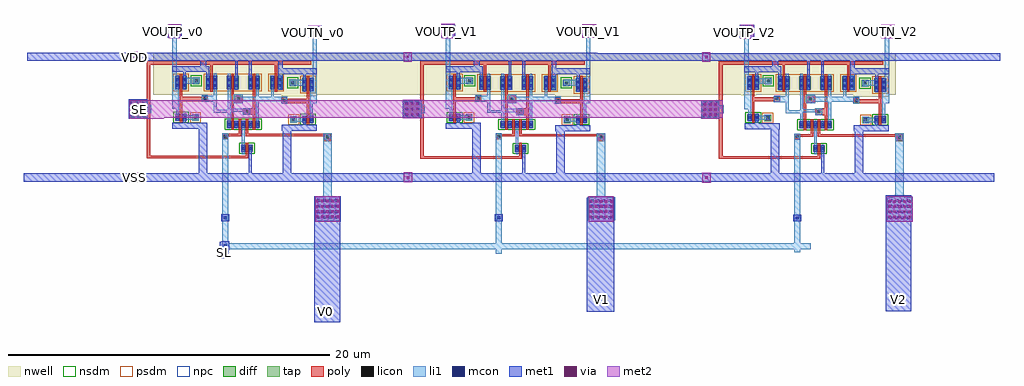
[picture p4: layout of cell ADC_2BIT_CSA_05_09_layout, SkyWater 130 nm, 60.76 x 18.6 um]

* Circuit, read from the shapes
.subckt ADC_2BIT_CSA_05_09_layout SE SL V0 V1 V2 VDD VOUTN_V1 VOUTN_V2 VOUTN_v0 VOUTP_V1 VOUTP_V2 VOUTP_v0 VSS
XM1 VSS CSA_g18_2108_layout_2/inv_D1_1v8_0/IN VOUTP_v0 VSS sky130_fd_pr__nfet_01v8 w=0.42 l=0.15
XM2 n1 CSA_g18_2108_layout_2/inv_D1_1v8_10/IN CSA_g18_2108_layout_2/inv_D1_1v8_0/IN VSS sky130_fd_pr__nfet_01v8 w=0.42 l=0.15
XM3 n2 SL n1 VSS sky130_fd_pr__nfet_01v8 w=0.42 l=0.15
XM4 VSS SE n2 VSS sky130_fd_pr__nfet_01v8 w=0.42 l=0.15
XM5 n3 V0 n2 VSS sky130_fd_pr__nfet_01v8 w=0.42 l=0.15
XM6 CSA_g18_2108_layout_2/inv_D1_1v8_10/IN CSA_g18_2108_layout_2/inv_D1_1v8_0/IN n3 VSS sky130_fd_pr__nfet_01v8 w=0.42 l=0.15
XM7 VOUTN_v0 CSA_g18_2108_layout_2/inv_D1_1v8_10/IN VSS VSS sky130_fd_pr__nfet_01v8 w=0.42 l=0.15
XM8 VSS CSA_g18_2108_layout_1/inv_D1_1v8_0/IN VOUTP_V1 VSS sky130_fd_pr__nfet_01v8 w=0.42 l=0.15
XM9 n4 CSA_g18_2108_layout_1/inv_D1_1v8_10/IN CSA_g18_2108_layout_1/inv_D1_1v8_0/IN VSS sky130_fd_pr__nfet_01v8 w=0.42 l=0.15
XM10 n5 SL n4 VSS sky130_fd_pr__nfet_01v8 w=0.42 l=0.15
XM11 VSS SE n5 VSS sky130_fd_pr__nfet_01v8 w=0.42 l=0.15
XM12 n6 V1 n5 VSS sky130_fd_pr__nfet_01v8 w=0.42 l=0.15
XM13 CSA_g18_2108_layout_1/inv_D1_1v8_10/IN CSA_g18_2108_layout_1/inv_D1_1v8_0/IN n6 VSS sky130_fd_pr__nfet_01v8 w=0.42 l=0.15
XM14 VOUTN_V1 CSA_g18_2108_layout_1/inv_D1_1v8_10/IN VSS VSS sky130_fd_pr__nfet_01v8 w=0.42 l=0.15
XM15 VSS CSA_g18_2108_layout_0/inv_D1_1v8_0/IN VOUTP_V2 VSS sky130_fd_pr__nfet_01v8 w=0.42 l=0.15
XM16 n7 CSA_g18_2108_layout_0/inv_D1_1v8_10/IN CSA_g18_2108_layout_0/inv_D1_1v8_0/IN VSS sky130_fd_pr__nfet_01v8 w=0.42 l=0.15
XM17 n8 SL n7 VSS sky130_fd_pr__nfet_01v8 w=0.42 l=0.15
XM18 VSS SE n8 VSS sky130_fd_pr__nfet_01v8 w=0.42 l=0.15
XM19 n9 V2 n8 VSS sky130_fd_pr__nfet_01v8 w=0.42 l=0.15
XM20 CSA_g18_2108_layout_0/inv_D1_1v8_10/IN CSA_g18_2108_layout_0/inv_D1_1v8_0/IN n9 VSS sky130_fd_pr__nfet_01v8 w=0.42 l=0.15
XM21 VOUTN_V2 CSA_g18_2108_layout_0/inv_D1_1v8_10/IN VSS VSS sky130_fd_pr__nfet_01v8 w=0.42 l=0.15
XM22 VDD CSA_g18_2108_layout_2/inv_D1_1v8_0/IN VOUTP_v0 VDD sky130_fd_pr__pfet_01v8 w=0.84 l=0.15
XM23 CSA_g18_2108_layout_2/inv_D1_1v8_0/IN SE VDD VDD sky130_fd_pr__pfet_01v8 w=0.84 l=0.15
XM24 VDD CSA_g18_2108_layout_2/inv_D1_1v8_10/IN CSA_g18_2108_layout_2/inv_D1_1v8_0/IN VDD sky130_fd_pr__pfet_01v8 w=0.84 l=0.15
XM25 CSA_g18_2108_layout_2/inv_D1_1v8_10/IN CSA_g18_2108_layout_2/inv_D1_1v8_0/IN VDD VDD sky130_fd_pr__pfet_01v8 w=0.84 l=0.15
XM26 VDD SE CSA_g18_2108_layout_2/inv_D1_1v8_10/IN VDD sky130_fd_pr__pfet_01v8 w=0.84 l=0.15
XM27 VOUTN_v0 CSA_g18_2108_layout_2/inv_D1_1v8_10/IN VDD VDD sky130_fd_pr__pfet_01v8 w=0.84 l=0.15
XM28 VDD CSA_g18_2108_layout_1/inv_D1_1v8_0/IN VOUTP_V1 VDD sky130_fd_pr__pfet_01v8 w=0.84 l=0.15
XM29 CSA_g18_2108_layout_1/inv_D1_1v8_0/IN SE VDD VDD sky130_fd_pr__pfet_01v8 w=0.84 l=0.15
XM30 VDD CSA_g18_2108_layout_1/inv_D1_1v8_10/IN CSA_g18_2108_layout_1/inv_D1_1v8_0/IN VDD sky130_fd_pr__pfet_01v8 w=0.84 l=0.15
XM31 CSA_g18_2108_layout_1/inv_D1_1v8_10/IN CSA_g18_2108_layout_1/inv_D1_1v8_0/IN VDD VDD sky130_fd_pr__pfet_01v8 w=0.84 l=0.15
XM32 VDD SE CSA_g18_2108_layout_1/inv_D1_1v8_10/IN VDD sky130_fd_pr__pfet_01v8 w=0.84 l=0.15
XM33 VOUTN_V1 CSA_g18_2108_layout_1/inv_D1_1v8_10/IN VDD VDD sky130_fd_pr__pfet_01v8 w=0.84 l=0.15
XM34 VDD CSA_g18_2108_layout_0/inv_D1_1v8_0/IN VOUTP_V2 VDD sky130_fd_pr__pfet_01v8 w=0.84 l=0.15
XM35 CSA_g18_2108_layout_0/inv_D1_1v8_0/IN SE VDD VDD sky130_fd_pr__pfet_01v8 w=0.84 l=0.15
XM36 VDD CSA_g18_2108_layout_0/inv_D1_1v8_10/IN CSA_g18_2108_layout_0/inv_D1_1v8_0/IN VDD sky130_fd_pr__pfet_01v8 w=0.84 l=0.15
XM37 CSA_g18_2108_layout_0/inv_D1_1v8_10/IN CSA_g18_2108_layout_0/inv_D1_1v8_0/IN VDD VDD sky130_fd_pr__pfet_01v8 w=0.84 l=0.15
XM38 VDD SE CSA_g18_2108_layout_0/inv_D1_1v8_10/IN VDD sky130_fd_pr__pfet_01v8 w=0.84 l=0.15
XM39 VOUTN_V2 CSA_g18_2108_layout_0/inv_D1_1v8_10/IN VDD VDD sky130_fd_pr__pfet_01v8 w=0.84 l=0.15
.ends

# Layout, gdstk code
from math import pi, radians
import gdstk
lib = gdstk.Library(unit=1e-6, precision=1e-09)
def R(c, l, rs):  # rectangles x0, y0, x1, y1
    for r in rs: c.add(gdstk.rectangle(r[:2], r[2:], *l))
def A(c, l, x, y, w, h, nx, ny, dx, dy):  # array of equal rectangles
    R(c, l, [(x+i*dx, y+j*dy, x+i*dx+w, y+j*dy+h) for i in range(nx) for j in range(ny)])
nwell = (64, 20)
diff = (65, 20)
tap = (65, 44)
poly = (66, 20)
licon = (66, 44)
li1 = (67, 20)
mcon = (67, 44)
met1 = (68, 20)
via = (68, 44)
met2 = (69, 20)
nsdm = (93, 44)
psdm = (94, 20)
npc = (95, 20)

sky130_fd_pr__pfet_01v8_ = lib.new_cell('sky130_fd_pr__pfet_01v8_6PK3KM')
R(sky130_fd_pr__pfet_01v8_, nwell, [(-0.545,-0.73,0.545,0.73)])
R(sky130_fd_pr__pfet_01v8_, diff, [(-0.365,-0.42,0.365,0.42)])
R(sky130_fd_pr__pfet_01v8_, poly, [(-0.075,-0.55,0.075,0.55)])
R(sky130_fd_pr__pfet_01v8_, licon, [(-0.305,-0.255,-0.135,-0.085), (0.135,-0.255,0.305,-0.085), (-0.305,0.085,-0.135,0.255), (0.135,0.085,0.305,0.255)])
R(sky130_fd_pr__pfet_01v8_, li1, [(-0.305,-0.44,-0.135,0.44), (0.135,-0.44,0.305,0.44)])
R(sky130_fd_pr__pfet_01v8_, mcon, [(-0.305,-0.265,-0.135,-0.095), (0.135,-0.265,0.305,-0.095), (-0.305,0.095,-0.135,0.265), (0.135,0.095,0.305,0.265)])
R(sky130_fd_pr__pfet_01v8_, met1, [(-0.335,-0.42,-0.105,0.42), (0.105,-0.42,0.335,0.42)])
R(sky130_fd_pr__pfet_01v8_, psdm, [(-0.49,-0.545,0.49,0.545)])

sky130_fd_pr__nfet_01v8_ = lib.new_cell('sky130_fd_pr__nfet_01v8_FNPZCM')
R(sky130_fd_pr__nfet_01v8_, diff, [(-0.365,-0.21,0.365,0.21)])
R(sky130_fd_pr__nfet_01v8_, poly, [(-0.075,-0.34,0.075,0.34)])
R(sky130_fd_pr__nfet_01v8_, licon, [(-0.305,-0.085,-0.135,0.085), (0.135,-0.085,0.305,0.085)])
R(sky130_fd_pr__nfet_01v8_, li1, [(-0.305,-0.23,-0.135,0.23), (0.135,-0.23,0.305,0.23)])
R(sky130_fd_pr__nfet_01v8_, mcon, [(-0.305,-0.085,-0.135,0.085), (0.135,-0.085,0.305,0.085)])
R(sky130_fd_pr__nfet_01v8_, met1, [(-0.335,-0.21,-0.105,0.21), (0.105,-0.21,0.335,0.21)])
R(sky130_fd_pr__nfet_01v8_, nsdm, [(-0.49,-0.335,0.49,0.335)])

lv_1v8_pmostap_substrate = lib.new_cell('LV_1v8_pmosTap_substrate')
R(lv_1v8_pmostap_substrate, tap, [(-0.15,-0.1,0.29,0.34)])
R(lv_1v8_pmostap_substrate, licon, [(-0.015,0.035,0.155,0.205)])
R(lv_1v8_pmostap_substrate, li1, [(-0.11,-0.07,0.25,0.3)])
R(lv_1v8_pmostap_substrate, nsdm, [(-0.275,-0.225,0.415,0.465)])

lv_1v8_nmostap_substrate = lib.new_cell('LV_1v8_nmosTap_substrate_Pwell')
R(lv_1v8_nmostap_substrate, tap, [(-0.22,-0.18,0.2,0.23)])
R(lv_1v8_nmostap_substrate, licon, [(-0.095,-0.05,0.075,0.12)])
R(lv_1v8_nmostap_substrate, li1, [(-0.18,-0.14,0.16,0.19)])
R(lv_1v8_nmostap_substrate, psdm, [(-0.345,-0.305,0.325,0.355)])

inv_d1_1v8 = lib.new_cell('inv_D1_1v8')
R(inv_d1_1v8, nwell, [(-1.1,0,1.09,1.46)])
R(inv_d1_1v8, poly, [(0.47,-1.115,0.62,-0.42), (-1.1,-0.45,-0.75,-0.42), (-1.1,-0.42,0.62,-0.16), (-1.1,-0.16,-0.75,-0.1), (0.47,-0.16,0.62,0.19)])
R(inv_d1_1v8, licon, [(-1.02,-0.335,-0.85,-0.165)])
R(inv_d1_1v8, li1, [(-0.52,-1.58,0.37,-1.31), (0.68,-1.445,0.85,-0.42), (-1.1,-0.45,-0.75,-0.1), (0.68,-0.42,1.1,-0.15), (0.68,-0.15,0.85,0.43), (-0.57,0.67,0.35,1.03)])
R(inv_d1_1v8, met1, [(-1.095,-2.15,1.09,-1.78), (0.24,-1.78,0.41,-1.2), (0.24,0.83,0.42,1.39), (-1.105,1.39,1.1,1.76)])
R(inv_d1_1v8, npc, [(-1.12,-0.435,-0.75,-0.065)])
inv_d1_1v8.add(gdstk.Reference(sky130_fd_pr__pfet_01v8_, (0.545,0.73)))
inv_d1_1v8.add(gdstk.Reference(sky130_fd_pr__nfet_01v8_, (0.545,-1.43)))
inv_d1_1v8.add(gdstk.Reference(lv_1v8_pmostap_substrate, (-0.47,0.73)))
inv_d1_1v8.add(gdstk.Reference(lv_1v8_nmostap_substrate, (-0.34,-1.47)))
inv_d1_1v8.add(gdstk.Label('OUT', (0.94,-0.29), layer=67, texttype=16))
inv_d1_1v8.add(gdstk.Label('VDD', (0.23,1.61), layer=68, texttype=16))
inv_d1_1v8.add(gdstk.Label('VSS', (0.21,-1.99), layer=68, texttype=16))
inv_d1_1v8.add(gdstk.Label('IN', (-0.95,-0.25), layer=67, texttype=16))

csa_g18_2108_layout = lib.new_cell('CSA_g18_2108_layout')
R(csa_g18_2108_layout, nwell, [(-3.61,1.88,-2.68,1.89), (-3.61,1.89,6.02,3.03), (-3.61,3.03,-3.09,3.19), (-2.3,3.03,6.02,3.19), (-3.61,3.19,6.02,4.5)])
R(csa_g18_2108_layout, poly, [(-4.995,-2.08,1.32,-2.01), (-5,-2.01,1.32,-1.93), (-5,-1.93,-4.76,0.48), (1.17,-1.93,1.32,-1.7), (6,-1,6.51,-0.705), (-0.29,-0.87,0.08,-0.705), (-0.29,-0.705,0.88,-0.555), (1.17,-0.705,6.51,-0.555), (-0.29,-0.555,0.08,-0.53), (0.73,-0.555,0.88,0.32), (1.17,-0.555,1.32,-0.22), (6,-0.555,6.51,-0.5), (0.29,0.175,0.44,1.36), (1.61,0.265,1.76,0.59), (-6.03,0.48,-4.76,1.47), (1.6,0.59,1.76,0.63), (1,0.63,1.76,1.05), (1.6,1.05,1.76,1.21), (1.61,1.21,1.76,2.96), (0.29,1.36,1,1.91), (-5,1.47,-4.76,3.76), (0.29,1.91,0.44,2.705), (-1.03,3.13,-0.88,3.76), (2.99,3.16,3.14,3.76), (-5,3.76,5.24,4)])
R(csa_g18_2108_layout, licon, [(6.175,-0.825,6.345,-0.655), (-0.19,-0.79,-0.02,-0.62), (1.16,0.77,1.33,0.94), (-5.595,0.89,-5.425,1.06), (0.635,1.545,0.805,1.715)])
R(csa_g18_2108_layout, li1, [(5.49,-5.97,7.03,-4.48), (-0.29,-5.955,0.08,-0.53), (6,-4.48,6.52,-0.5), (0.94,-1.815,1.11,0.27), (1.82,0.11,1.99,1.48), (0.06,0.12,0.23,0.76), (-6.03,0.48,-4.99,0.735), (1,0.63,1.45,0.81), (-6.03,0.735,-4.7,1.255), (-0.82,0.76,0.23,0.81), (-0.82,0.81,1.45,0.94), (-0.82,0.94,-0.64,1.45), (0.06,0.94,1.45,1.01), (-3.405,1.005,-3.135,5.46), (0.06,1.01,0.23,3.195), (1,1.01,1.45,1.05), (-6.03,1.255,-4.99,1.48), (0.44,1.36,1,1.48), (5.335,1.36,5.605,5.5), (-1.57,1.45,-0.64,1.82), (0.415,1.48,3.755,1.77), (0.44,1.77,1,1.91), (1.82,1.77,1.99,3.185), (2.76,1.77,2.93,2.56), (-0.82,1.82,-0.64,3.21), (-3.62,5.46,-2.86,6.22), (5.14,5.5,5.83,6.13)])
A(csa_g18_2108_layout, mcon, 5.635, -5.85, 0.17, 0.17, 4, 4, 0.36, 0.36)
R(csa_g18_2108_layout, mcon, [(-0.19,-5.855,-0.02,-5.685), (5.22,5.55,5.39,5.72), (5.58,5.55,5.75,5.72), (-3.505,5.575,-3.335,5.745), (-3.145,5.575,-2.975,5.745), (5.22,5.91,5.39,6.08), (5.58,5.91,5.75,6.08), (-3.505,5.935,-3.335,6.105), (-3.145,5.935,-2.975,6.105)])
R(csa_g18_2108_layout, met1, [(5.43,-6,7.09,-4.45), (-0.35,-5.985,0.14,-5.555), (-6.065,-3.52,3.995,-2.99), (-1.75,-2.99,-1.22,0.14), (1.37,-2.99,1.56,-1.43), (3.465,-2.99,3.995,-0.135), (3.2,2.18,3.47,4.01), (0.51,2.19,0.68,4.01), (-1.28,2.2,-1.1,3.67), (1.37,2.6,1.55,4.01), (-1.655,3.3,-1.285,4.01), (-6.065,4.01,6.02,4.5), (-3.68,5.43,-2.8,6.25), (5.08,5.47,5.89,6.16)])
A(csa_g18_2108_layout, via, 5.545, -5.78, 0.15, 0.15, 5, 4, 0.32, 0.32)
R(csa_g18_2108_layout, via, [(-5.825,-3.33,-5.675,-3.18), (-5.845,4.18,-5.695,4.33), (5.25,5.58,5.4,5.73), (5.57,5.58,5.72,5.73), (-3.475,5.605,-3.325,5.755), (-3.155,5.605,-3.005,5.755), (5.25,5.9,5.4,6.05), (5.57,5.9,5.72,6.05), (-3.475,5.925,-3.325,6.075), (-3.155,5.925,-3.005,6.075)])
R(csa_g18_2108_layout, met2, [(5.49,-6.02,7.03,-4.43), (-6.015,-3.57,-5.485,-2.94), (-6.015,3.96,-5.525,4.55), (-3.62,5.41,-2.86,6.27), (5.14,5.45,5.83,6.18)])
R(csa_g18_2108_layout, psdm, [(-0.465,2.085,-0.125,3.175), (0.855,2.085,1.195,3.175)])
R(csa_g18_2108_layout, npc, [(6.075,-0.925,6.445,-0.555), (-0.29,-0.89,0.08,-0.52), (1.06,0.67,1.43,1.04), (-5.695,0.79,-5.325,1.16), (0.535,1.445,0.905,1.815)])
csa_g18_2108_layout.add(gdstk.Reference(inv_d1_1v8, (-2.305,1.91), rotation=pi, x_reflection=True))
csa_g18_2108_layout.add(gdstk.Reference(sky130_fd_pr__pfet_01v8_, (-0.955,2.63)))
csa_g18_2108_layout.add(gdstk.Reference(sky130_fd_pr__nfet_01v8_, (0.365,0.04)))
csa_g18_2108_layout.add(gdstk.Reference(sky130_fd_pr__nfet_01v8_, (0.805,0.04)))
csa_g18_2108_layout.add(gdstk.Reference(sky130_fd_pr__nfet_01v8_, (1.245,0.04)))
csa_g18_2108_layout.add(gdstk.Reference(sky130_fd_pr__nfet_01v8_, (1.245,-1.45)))
csa_g18_2108_layout.add(gdstk.Reference(sky130_fd_pr__pfet_01v8_, (0.365,2.63)))
csa_g18_2108_layout.add(gdstk.Reference(sky130_fd_pr__nfet_01v8_, (1.685,0.04)))
csa_g18_2108_layout.add(gdstk.Reference(sky130_fd_pr__pfet_01v8_, (1.685,2.63)))
csa_g18_2108_layout.add(gdstk.Reference(sky130_fd_pr__pfet_01v8_, (3.065,2.63)))
csa_g18_2108_layout.add(gdstk.Reference(inv_d1_1v8, (4.505,1.78)))
csa_g18_2108_layout.add(gdstk.Label('SE', (-5.52,0.96), layer=67, texttype=16))
csa_g18_2108_layout.add(gdstk.Label('VDD', (-5.8,4.27), layer=69, texttype=16))
csa_g18_2108_layout.add(gdstk.Label('VOUT0', (-3.23,5.93), layer=69, texttype=16))
csa_g18_2108_layout.add(gdstk.Label('VOUT1', (5.49,5.75), layer=69, texttype=16))
csa_g18_2108_layout.add(gdstk.Label('VSS', (-5.72,-3.21), layer=69, texttype=16))
csa_g18_2108_layout.add(gdstk.Label('REF', (6.06,-5.29), layer=69, texttype=16))
csa_g18_2108_layout.add(gdstk.Label('SL', (-0.14,-5.78), layer=68, texttype=16))

adc_2bit_csa_05_09_layou = lib.new_cell('ADC_2BIT_CSA_05_09_layout')
R(adc_2bit_csa_05_09_layou, nwell, [(1.475,7.93,47.475,10.54)])
R(adc_2bit_csa_05_09_layou, li1, [(22.805,-1.965,23.175,-1.675), (41.395,-1.855,41.765,-1.675), (5.775,-1.675,42.405,-1.67), (5.77,-1.67,42.405,-1.305), (5.77,-1.305,6.17,-1.23), (22.805,-1.305,23.175,1.315), (41.395,-1.305,41.765,2.155), (5.775,-1.23,6.145,1.605), (28.54,0.12,30.23,1.55), (-0.01,6.5,1.07,6.53), (35.64,6.5,36.68,7.55), (17.06,6.52,18.13,7.58), (-0.01,6.53,1.09,7.53), (-0.01,7.53,1.07,7.6)])
A(adc_2bit_csa_05_09_layou, mcon, 35.715, 6.58, 0.17, 0.17, 3, 3, 0.36, 0.36)
A(adc_2bit_csa_05_09_layou, mcon, 0.085, 6.605, 0.17, 0.17, 3, 3, 0.36, 0.36)
A(adc_2bit_csa_05_09_layou, mcon, 17.15, 6.605, 0.17, 0.17, 3, 3, 0.36, 0.36)
R(adc_2bit_csa_05_09_layou, mcon, [(5.885,-1.535,6.055,-1.365)])
R(adc_2bit_csa_05_09_layou, met1, [(11.49,-6.23,13.13,0.03), (28.47,-5.57,30.17,1.53), (47.08,-5.55,48.67,1.67), (5.62,-2.24,6.18,-1.73), (5.62,-1.73,6.2,-1.21), (5.74,-1.21,6.2,-1.17), (11.49,0.03,13.16,1.58), (11.51,1.58,13.16,1.6), (0.03,2.5,0.59,2.54), (44.465,2.52,53.825,3.05), (26.345,2.53,36.855,3.06), (-6.565,2.54,3.045,3.07), (9.375,2.54,18.155,3.07), (0.03,3.07,0.59,3.1), (-0.04,6.44,1.1,6.51), (35.61,6.44,36.71,6.5), (17,6.49,18.19,7.61), (35.59,6.5,36.73,7.55), (-0.04,6.51,1.13,7.55), (-0.04,7.55,1.1,7.66), (35.61,7.55,36.71,7.61), (0.05,10.02,0.55,10.07), (28.815,10.05,37.395,10.54), (46.495,10.05,54.195,10.54), (10.735,10.06,18.555,10.55), (-6.375,10.07,1.565,10.56), (0.05,10.56,0.55,10.62), (2.4,11.48,3.25,12.31), (11.12,11.5,11.96,12.23)])
A(adc_2bit_csa_05_09_layou, via, 35.765, 6.63, 0.15, 0.15, 3, 3, 0.32, 0.32)
A(adc_2bit_csa_05_09_layou, via, 0.155, 6.635, 0.15, 0.15, 3, 3, 0.32, 0.32)
A(adc_2bit_csa_05_09_layou, via, 17.2, 6.655, 0.15, 0.15, 3, 3, 0.32, 0.32)
R(adc_2bit_csa_05_09_layou, met2, [(47.1,0.04,48.75,1.57), (35.64,6.45,36.68,6.52), (0.01,6.46,2.15,6.52), (17.06,6.47,18.13,6.52), (0.01,6.52,36.935,7.59), (0.02,7.59,1.08,7.6), (17.06,7.59,18.13,7.63), (35.64,7.59,36.68,7.6), (38.01,11.44,38.87,12.29), (46.79,11.46,47.65,12.31), (28.2,11.48,29.06,12.33), (19.4,11.52,20.26,12.37)])
adc_2bit_csa_05_09_layou.add(gdstk.Reference(csa_g18_2108_layout, (41.685,6.04)))
adc_2bit_csa_05_09_layou.add(gdstk.Reference(csa_g18_2108_layout, (23.095,6.05)))
adc_2bit_csa_05_09_layou.add(gdstk.Reference(csa_g18_2108_layout, (6.065,6.06)))
adc_2bit_csa_05_09_layou.add(gdstk.Label('SE', (0.6,7.03), layer=68, texttype=16))
adc_2bit_csa_05_09_layou.add(gdstk.Label('VSS', (0.3,2.8), layer=68, texttype=16))
adc_2bit_csa_05_09_layou.add(gdstk.Label('VDD', (0.3,10.28), layer=68, texttype=16))
adc_2bit_csa_05_09_layou.add(gdstk.Label('V0', (12.22,-5.54), layer=68, texttype=16))
adc_2bit_csa_05_09_layou.add(gdstk.Label('V1', (29.36,-4.8), layer=68, texttype=16))
adc_2bit_csa_05_09_layou.add(gdstk.Label('V2', (47.85,-4.82), layer=68, texttype=16))
adc_2bit_csa_05_09_layou.add(gdstk.Label('VOUTP_v0', (2.75,11.88), layer=68, texttype=16))
adc_2bit_csa_05_09_layou.add(gdstk.Label('VOUTN_v0', (11.48,11.81), layer=68, texttype=16))
adc_2bit_csa_05_09_layou.add(gdstk.Label('VOUTN_V1', (28.56,11.88), layer=69, texttype=16))
adc_2bit_csa_05_09_layou.add(gdstk.Label('VOUTP_V1', (19.76,11.9), layer=69, texttype=16))
adc_2bit_csa_05_09_layou.add(gdstk.Label('VOUTP_V2', (38.26,11.83), layer=69, texttype=16))
adc_2bit_csa_05_09_layou.add(gdstk.Label('VOUTN_V2', (47.08,11.86), layer=69, texttype=16))
adc_2bit_csa_05_09_layou.add(gdstk.Label('SL', (5.9,-1.91), layer=68, texttype=16))

lib.write_gds('ADC_2BIT_CSA_05_09_layout.gds')
